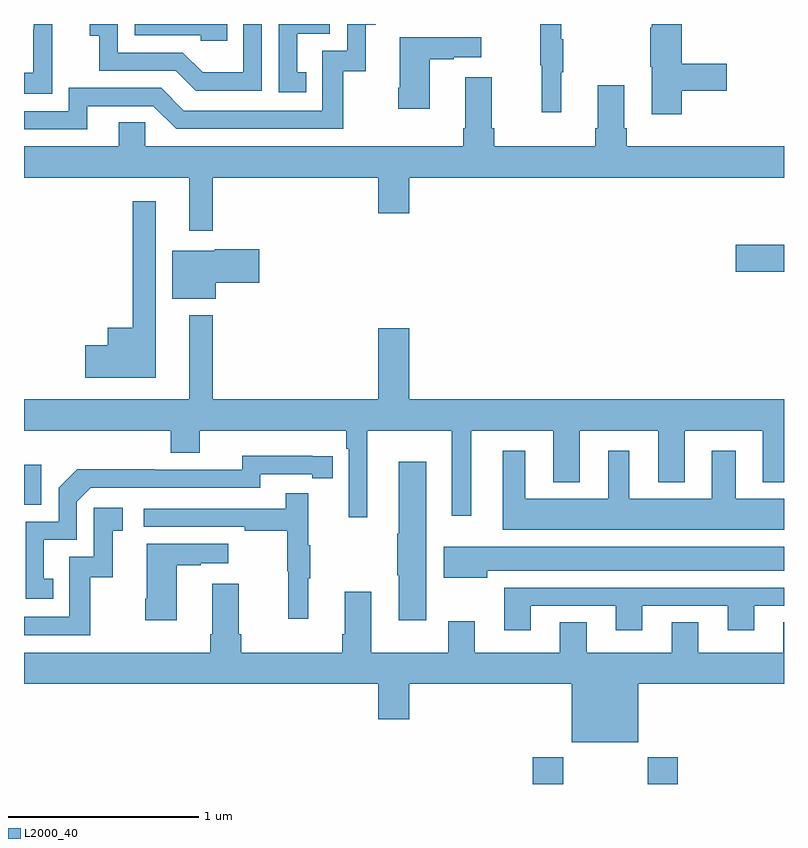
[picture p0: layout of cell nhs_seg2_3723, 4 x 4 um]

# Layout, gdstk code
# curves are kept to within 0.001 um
import gdstk
lib = gdstk.Library(unit=1e-6, precision=1e-09)
def R(c, l, rs):  # rectangles x0, y0, x1, y1
    for r in rs: c.add(gdstk.rectangle(r[:2], r[2:], *l))
def P(c, l, *ps):  # polygons
    for p in ps: c.add(gdstk.Polygon(p, *l))
L2000_40 = (2000, 40)

nhs_seg2_3723 = lib.new_cell('nhs_seg2_3723')
R(nhs_seg2_3723, L2000_40, [(309.677,621.8,309.837,621.94), (310.282,621.8,310.442,621.94), (307,623.271,307.092,623.479), (310.746,624.497,311,624.639)])
P(nhs_seg2_3723, L2000_40, [(308.25,625.8),(308.154,625.8),(308.154,625.546),(307.94,625.546),(307.836,625.65),(307.494,625.65),(307.494,625.8),(307.347,625.8),(307.347,625.739),(307.396,625.739),(307.396,625.554),(307.799,625.554),(307.904,625.449),(308.25,625.449)],
  [(309.827,625.547),(309.838,625.547),(309.838,625.721),(309.827,625.721),(309.827,625.8),(309.493,625.8),(309.493,625.798),(309.717,625.798),(309.717,625.584),(309.724,625.584),(309.724,625.335),(309.827,625.335)],
  [(310.463,625.45),(310.699,625.45),(310.699,625.592),(310.463,625.592),(310.463,625.8),(310.304,625.8),(310.304,625.781),(310.297,625.781),(310.297,625.575),(310.304,625.575),(310.304,625.326),(310.463,625.326)],
  [(307.333,625.368),(307.68,625.368),(307.8,625.248),(308.68,625.248),(308.68,625.551),(308.798,625.551),(308.798,625.797),(308.851,625.797),(308.851,625.8),(308.7,625.8),(308.7,625.659),(308.571,625.659),(308.571,625.344),(307.842,625.344),(307.722,625.464),(307.236,625.464),(307.236,625.341),(307,625.341),(307,625.245),(307.333,625.245)],
  [(308.486,625.545),(308.437,625.545),(308.437,625.749),(308.61,625.749),(308.61,625.8),(308.34,625.8),(308.34,625.44),(308.486,625.44)],
  [(307.149,625.639),(307.148,625.639),(307.148,625.8),(307.05,625.8),(307.05,625.772),(307.049,625.772),(307.049,625.543),(307,625.543),(307,625.433),(307.149,625.433)],
  [(308.069,625.8),(307.584,625.8),(307.584,625.74),(307.929,625.74),(307.929,625.713),(308.069,625.713)],
  [(309.136,625.615),(309.263,625.615),(309.263,625.625),(309.406,625.625),(309.406,625.729),(308.978,625.729),(308.978,625.465),(308.971,625.465),(308.971,625.353),(309.136,625.353)],
  [(307.993,624.992),(308.864,624.992),(308.864,624.804),(309.028,624.804),(309.028,624.992),(311,624.992),(311,625.156),(310.172,625.156),(310.172,625.252),(310.159,625.252),(310.159,625.477),(310.019,625.477),(310.019,625.252),(310.007,625.252),(310.007,625.156),(309.476,625.156),(309.476,625.252),(309.463,625.252),(309.463,625.519),(309.323,625.519),(309.323,625.252),(309.311,625.252),(309.311,625.156),(307.638,625.156),(307.638,625.283),(307.499,625.283),(307.499,625.156),(307,625.156),(307,624.992),(307.871,624.992),(307.871,624.711),(307.993,624.711)],
  [(307.693,624.868),(307.572,624.868),(307.572,624.202),(307.442,624.202),(307.442,624.11),(307.323,624.11),(307.323,623.939),(307.693,623.939)],
  [(308.008,624.437),(308.239,624.437),(308.239,624.615),(308.004,624.615),(308.004,624.607),(307.781,624.607),(307.781,624.353),(308.008,624.353)],
  [(308.806,623.66),(309.251,623.66),(309.251,623.211),(309.355,623.211),(309.355,623.66),(309.785,623.66),(309.785,623.387),(309.925,623.387),(309.925,623.66),(310.337,623.66),(310.337,623.387),(310.477,623.387),(310.477,623.66),(310.889,623.66),(310.889,623.387),(311,623.387),(311,623.824),(309.028,623.824),(309.028,624.199),(308.864,624.199),(308.864,623.824),(307.993,623.824),(307.993,624.268),(307.871,624.268),(307.871,623.824),(307,623.824),(307,623.66),(307.772,623.66),(307.772,623.543),(307.924,623.543),(307.924,623.66),(308.696,623.66),(308.696,623.564),(308.709,623.564),(308.709,623.205),(308.806,623.205)],
  [(311,623.302),(310.747,623.302),(310.747,623.554),(310.619,623.554),(310.619,623.302),(310.186,623.302),(310.186,623.554),(310.076,623.554),(310.076,623.302),(309.637,623.302),(309.637,623.554),(309.521,623.554),(309.521,623.138),(311,623.138)],
  [(307.154,622.881),(307.105,622.881),(307.105,623.085),(307.278,623.085),(307.278,623.286),(307.35,623.358),(308.244,623.358),(308.244,623.43),(308.516,623.43),(308.516,623.41),(308.624,623.41),(308.624,623.526),(308.148,623.527),(308.148,623.454),(307.688,623.454),(307.688,623.456),(307.28,623.456),(307.182,623.358),(307.182,623.181),(307.008,623.181),(307.008,622.776),(307.154,622.776)],
  [(309.118,623.497),(308.972,623.497),(308.972,623.117),(308.965,623.117),(308.965,622.9),(308.972,622.9),(308.972,622.662),(309.118,622.662)],
  [(308.495,622.883),(308.506,622.883),(308.506,623.057),(308.495,623.057),(308.495,623.329),(308.377,623.329),(308.377,623.25),(307.629,623.25),(307.629,623.154),(308.161,623.154),(308.161,623.134),(308.385,623.134),(308.385,622.92),(308.392,622.92),(308.392,622.671),(308.495,622.671)],
  [(307.348,622.887),(307.466,622.887),(307.466,623.133),(307.519,623.133),(307.519,623.254),(307.368,623.254),(307.368,622.995),(307.239,622.995),(307.239,622.68),(307,622.68),(307,622.584),(307.348,622.584)],
  [(307.804,622.951),(307.931,622.951),(307.931,622.961),(308.074,622.961),(308.074,623.065),(307.646,623.065),(307.646,622.774),(307.639,622.774),(307.639,622.662),(307.804,622.662)],
  [(309.439,622.922),(311,622.922),(311,623.05),(309.21,623.05),(309.21,622.886),(309.439,622.886)],
  [(310.234,622.328),(311,622.328),(311,622.652),(310.997,622.652),(310.997,622.492),(310.549,622.492),(310.549,622.652),(310.409,622.652),(310.409,622.492),(309.961,622.492),(309.961,622.652),(309.821,622.652),(309.821,622.492),(309.373,622.492),(309.373,622.657),(309.233,622.657),(309.233,622.492),(308.827,622.492),(308.827,622.813),(308.687,622.813),(308.687,622.588),(308.675,622.588),(308.675,622.492),(308.144,622.492),(308.144,622.588),(308.131,622.588),(308.131,622.855),(307.991,622.855),(307.991,622.588),(307.979,622.588),(307.979,622.492),(307,622.492),(307,622.328),(308.864,622.328),(308.864,622.14),(309.028,622.14),(309.028,622.328),(309.884,622.328),(309.884,622.019),(310.234,622.019)],
  [(309.667,622.737),(310.115,622.737),(310.115,622.608),(310.255,622.608),(310.255,622.737),(310.703,622.737),(310.703,622.608),(310.843,622.608),(310.843,622.737),(311,622.737),(311,622.833),(309.527,622.833),(309.527,622.608),(309.667,622.608)])

lib.write_gds('nhs_seg2_3723.gds')
